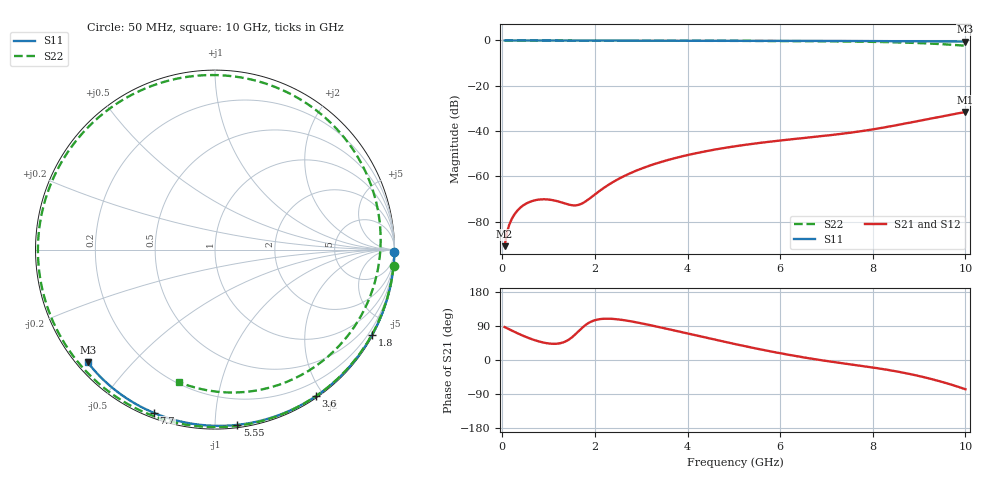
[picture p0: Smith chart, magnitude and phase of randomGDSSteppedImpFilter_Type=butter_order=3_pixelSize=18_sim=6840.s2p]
! freq	dB(S11)	phase(S11)	dB(S12)	phase(S12)
!  dB(S21)	phase(S21)	dB(S22)	phase(S22)
!S-par simulation data
#  GHz  S  DB  R 50
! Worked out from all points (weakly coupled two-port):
!   200 points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, 50 MHz to 10 GHz, reference 50 ohm
!   highest |S21| = -31.59 dB at 10 GHz (marker M1); lowest = -90.8 dB at 50 MHz (marker M2)
!   lowest |S11| = -0.5 dB at 10 GHz (marker M3), VSWR 37.15, Z = 1.54 - j18.9 ohm
!   |S11| at or under -10 dB: nowhere
!   |S22| runs from -2.3 to 0.0 dB; largest |S21 - S12| = 0
!   S11 on the Smith chart (normalised r, x): 50 MHz: open; 1.8 GHz: 0.03, -3.95; 3.6 GHz: 0.02, -1.90; 5.55 GHz: 0.02, -1.13; 7.7 GHz: 0.02, -0.69; 10 GHz: 0.03, -0.38
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0.05  -0.00 -0.8  -90.79 87.0  -90.79 87.0  -0.00 -5.4
0.15  -0.00 -2.4  -81.36 80.9  -81.36 80.9  -0.02 -16.0
0.45  -0.01 -7.2  -72.82 64.0  -72.82 64.0  -0.07 -46.3
0.8  -0.02 -12.7  -70.21 48.6  -70.21 48.6  -0.09 -77.3
1.2  -0.02 -19.1  -70.99 43.3  -70.99 43.3  -0.10 -106.0
1.55  -0.03 -24.5  -72.80 64.7  -72.80 64.7  -0.10 -126.3
1.75  -0.04 -27.6  -71.65 87.7  -71.65 87.7  -0.11 -136.3
1.8  -0.04 -28.4  -71.02 92.6  -71.02 92.6  -0.11 -138.7
2.5  -0.05 -39.1  -61.23 107.2  -61.23 107.2  -0.11 -167.2
3.4  -0.07 -52.6  -53.80 86.5  -53.80 86.5  -0.13 163.3
3.6  -0.07 -55.5  -52.62 81.0  -52.62 81.0  -0.13 157.3
4.35  -0.09 -66.3  -49.07 60.2  -49.07 60.2  -0.16 135.5
5.05  -0.12 -76.0  -46.63 41.4  -46.63 41.4  -0.19 115.2
5.55  -0.14 -82.8  -45.24 28.6  -45.24 28.6  -0.22 100.2
6.15  -0.16 -90.8  -43.82 14.5  -43.82 14.5  -0.27 81.2
6.7  -0.19 -97.9  -42.64 3.0  -42.64 3.0  -0.33 62.6
7.7  -0.25 -110.5  -40.19 -14.6  -40.19 -14.6  -0.52 24.6
8.35  -0.30 -118.5  -38.01 -26.6  -38.01 -26.6  -0.75 -4.2
8.85  -0.35 -124.6  -36.07 -38.3  -36.07 -38.3  -1.04 -29.4
9.35  -0.40 -130.6  -34.07 -52.9  -34.07 -52.9  -1.48 -58.4
9.7  -0.43 -134.9  -32.70 -65.2  -32.70 -65.2  -1.89 -82.0
10  -0.47 -138.5  -31.59 -77.2  -31.59 -77.2  -2.32 -105.1
